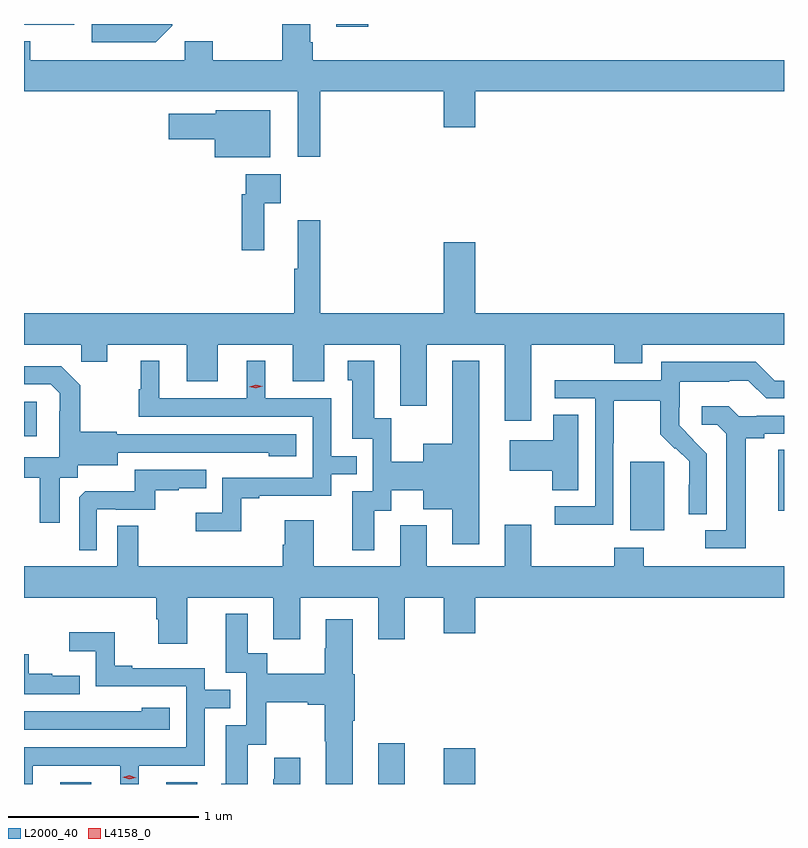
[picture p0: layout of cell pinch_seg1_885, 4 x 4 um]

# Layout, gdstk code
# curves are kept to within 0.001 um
import gdstk
lib = gdstk.Library(unit=1e-6, precision=1e-09)
def R(c, l, rs):  # rectangles x0, y0, x1, y1
    for r in rs: c.add(gdstk.rectangle(r[:2], r[2:], *l))
def P(c, l, *ps):  # polygons
    for p in ps: c.add(gdstk.Polygon(p, *l))
L2000_40 = (2000, 40)
L4158_0 = (4158, 0)

pinch_seg1_885 = lib.new_cell('pinch_seg1_885')
R(pinch_seg1_885, L2000_40, [(594.557,536.099,594.721,536.107), (595.115,536.099,595.279,536.107), (596.231,536.099,596.371,536.314), (596.576,536.099,596.74,536.287), (597.557,537.434,597.736,537.795), (598.337,537.537,598.366,537.857), (594.366,537.93,594.433,538.11), (596.009,540.084,596.177,540.099), (594.366,540.096,594.63,540.099)])
P(pinch_seg1_885, L2000_40, [(595.925,539.744),(596.576,539.744),(596.576,539.556),(596.74,539.556),(596.74,539.744),(598.366,539.744),(598.366,539.908),(595.886,539.908),(595.886,540.004),(595.873,540.004),(595.873,540.099),(595.726,540.099),(595.726,539.908),(595.359,539.908),(595.359,540.007),(595.212,540.007),(595.212,539.908),(594.399,539.908),(594.399,540.007),(594.366,540.007),(594.366,539.744),(595.808,539.744),(595.808,539.4),(595.925,539.4)],
  [(595.146,540.09),(595.146,540.099),(594.723,540.099),(594.723,540.003),(595.059,540.003)],
  [(595.663,539.644),(595.374,539.644),(595.374,539.626),(595.128,539.626),(595.128,539.492),(595.37,539.492),(595.37,539.399),(595.663,539.399)],
  [(595.631,539.156),(595.717,539.156),(595.717,539.308),(595.533,539.308),(595.533,539.204),(595.513,539.204),(595.513,538.908),(595.631,538.908)],
  [(597.037,538.412),(597.472,538.412),(597.472,538.313),(597.619,538.313),(597.619,538.412),(598.366,538.412),(598.366,538.576),(596.74,538.576),(596.74,538.951),(596.576,538.951),(596.576,538.576),(595.925,538.576),(595.925,539.065),(595.808,539.065),(595.808,538.812),(595.789,538.812),(595.789,538.576),(594.366,538.576),(594.366,538.412),(594.667,538.412),(594.667,538.322),(594.805,538.322),(594.805,538.412),(595.223,538.412),(595.223,538.218),(595.387,538.218),(595.387,538.412),(595.781,538.412),(595.781,538.218),(595.945,538.218),(595.945,538.412),(596.345,538.412),(596.345,538.201),(596.346,538.201),(596.346,538.089),(596.485,538.089),(596.485,538.412),(596.897,538.412),(596.897,538.011),(597.037,538.011)],
  [(596.209,537.538),(596.299,537.538),(596.299,537.644),(596.468,537.644),(596.468,537.545),(596.621,537.545),(596.621,537.36),(596.761,537.36),(596.761,538.327),(596.621,538.327),(596.621,537.889),(596.468,537.889),(596.468,537.796),(596.298,537.796),(596.298,538.023),(596.209,538.023),(596.209,538.327),(596.069,538.327),(596.069,538.224),(596.093,538.224),(596.093,537.915),(596.202,537.915),(596.202,537.639),(596.093,537.639),(596.093,537.33),(596.209,537.33)],
  [(595.509,537.603),(595.603,537.603),(595.603,537.615),(595.983,537.615),(595.983,537.729),(596.117,537.729),(596.117,537.825),(595.983,537.825),(595.983,538.128),(595.636,538.128),(595.636,538.327),(595.538,538.327),(595.538,538.128),(595.078,538.128),(595.078,538.327),(594.98,538.327),(594.98,538.176),(594.969,538.176),(594.969,538.032),(595.887,538.032),(595.887,537.711),(595.41,537.711),(595.41,537.526),(595.269,537.526),(595.269,537.428),(595.509,537.428)],
  [(597.468,537.892),(597.471,537.892),(597.471,538.116),(597.715,538.116),(597.715,537.941),(597.792,537.864),(597.795,537.867),(597.866,537.797),(597.866,537.674),(597.864,537.674),(597.864,537.52),(597.96,537.52),(597.96,537.838),(597.814,537.986),(597.814,538.083),(597.816,538.083),(597.816,538.217),(598.079,538.217),(598.079,538.221),(598.179,538.221),(598.272,538.128),(598.366,538.128),(598.366,538.221),(598.317,538.221),(598.217,538.321),(597.72,538.321),(597.72,538.224),(597.159,538.224),(597.159,538.128),(597.372,538.128),(597.372,537.561),(597.159,537.561),(597.159,537.463),(597.468,537.463)],
  [(594.553,537.712),(594.648,537.712),(594.648,537.776),(594.859,537.776),(594.859,537.843),(595.653,537.842),(595.653,537.824),(595.798,537.824),(595.798,537.939),(594.855,537.939),(594.855,537.952),(594.663,537.952),(594.663,538.197),(594.563,538.297),(594.366,538.297),(594.366,538.203),(594.507,538.203),(594.554,538.156),(594.554,538.061),(594.552,538.061),(594.552,537.82),(594.366,537.82),(594.366,537.71),(594.449,537.71),(594.449,537.474),(594.553,537.474)],
  [(598.165,537.92),(598.261,537.92),(598.261,537.942),(598.366,537.942),(598.366,538.038),(598.222,538.038),(598.222,538.035),(598.128,538.035),(598.076,538.087),(597.933,538.087),(597.933,537.99),(598.014,537.99),(598.061,537.943),(598.061,537.435),(597.951,537.435),(597.951,537.339),(598.165,537.339)],
  [(597.283,538.043),(597.152,538.043),(597.152,537.907),(596.922,537.907),(596.922,537.749),(597.145,537.749),(597.145,537.646),(597.283,537.646)],
  [(594.75,537.546),(594.85,537.546),(594.85,537.543),(595.058,537.543),(595.058,537.645),(595.181,537.645),(595.181,537.656),(595.325,537.656),(595.325,537.753),(594.948,537.753),(594.948,537.641),(594.689,537.641),(594.657,537.609),(594.657,537.329),(594.75,537.329)],
  [(595.819,537.08),(596.231,537.08),(596.231,536.862),(596.371,536.862),(596.371,537.08),(596.576,537.08),(596.576,536.892),(596.74,536.892),(596.74,537.08),(598.366,537.08),(598.366,537.244),(597.627,537.244),(597.627,537.343),(597.472,537.343),(597.472,537.244),(597.037,537.244),(597.037,537.463),(596.897,537.463),(596.897,537.244),(596.485,537.244),(596.485,537.46),(596.345,537.46),(596.345,537.244),(595.891,537.244),(595.891,537.487),(595.739,537.487),(595.739,537.357),(595.727,537.357),(595.727,537.244),(594.967,537.244),(594.967,537.458),(594.858,537.458),(594.858,537.244),(594.366,537.244),(594.366,537.08),(595.061,537.08),(595.061,536.967),(595.073,536.967),(595.073,536.838),(595.225,536.838),(595.225,537.08),(595.679,537.08),(595.679,536.862),(595.819,536.862)],
  [(595.543,536.306),(595.641,536.306),(595.641,536.528),(595.859,536.528),(595.859,536.516),(595.948,536.516),(595.948,536.323),(595.955,536.323),(595.955,536.099),(596.095,536.099),(596.095,536.432),(596.108,536.432),(596.108,536.676),(596.095,536.676),(596.095,536.965),(595.955,536.965),(595.955,536.814),(595.948,536.814),(595.948,536.68),(595.645,536.68),(595.645,536.786),(595.543,536.786),(595.543,536.995),(595.427,536.995),(595.427,536.685),(595.536,536.685),(595.536,536.409),(595.427,536.409),(595.427,536.1),(595.403,536.1),(595.403,536.099),(595.543,536.099)],
  [(594.412,536.196),(594.872,536.196),(594.872,536.099),(594.97,536.099),(594.97,536.196),(595.317,536.196),(595.317,536.499),(595.451,536.499),(595.451,536.595),(595.317,536.595),(595.317,536.709),(594.937,536.709),(594.937,536.722),(594.843,536.722),(594.843,536.897),(594.603,536.897),(594.603,536.798),(594.744,536.798),(594.744,536.613),(595.221,536.613),(595.221,536.292),(594.366,536.292),(594.366,536.099),(594.412,536.099)],
  [(594.659,536.668),(594.515,536.668),(594.515,536.68),(594.392,536.68),(594.392,536.781),(594.366,536.781),(594.366,536.571),(594.659,536.571)],
  [(595.132,536.5),(594.987,536.5),(594.987,536.482),(594.751,536.482),(594.751,536.481),(594.366,536.481),(594.366,536.385),(595.132,536.385)],
  [(595.819,536.236),(595.682,536.236),(595.682,536.123),(595.679,536.123),(595.679,536.099),(595.819,536.099)])
P(pinch_seg1_885, L4158_0, [(594.921,536.124),(594.885,536.135),(594.885,536.135),(594.885,536.135),(594.921,536.144),(594.957,536.133),(594.957,536.132),(594.957,536.132)],
  [(595.587,538.181),(595.551,538.189),(595.551,538.19),(595.551,538.19),(595.587,538.201),(595.623,538.192),(595.623,538.192),(595.623,538.192)])

lib.write_gds('pinch_seg1_885.gds')
